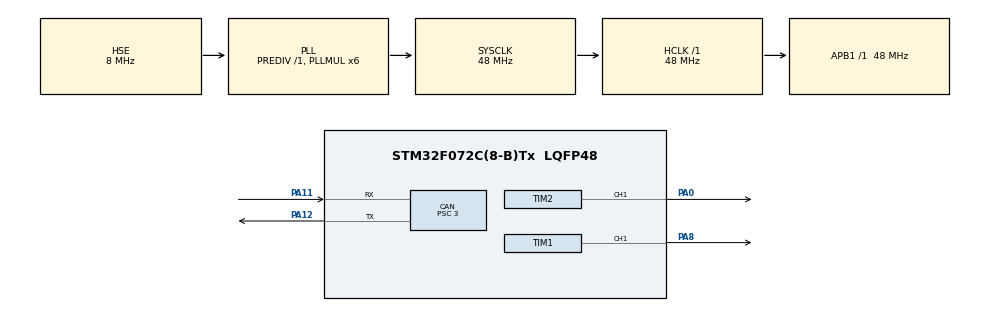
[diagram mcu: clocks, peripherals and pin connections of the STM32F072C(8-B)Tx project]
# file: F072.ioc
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CAN.CalculateBaudRate=1000000
CAN.CalculateTimeBit=1000
CAN.CalculateTimeQuantum=62.5
CAN.Prescaler=3
CAN.SyncJumpWidth=CAN_SJW_4TQ
CAN.TimeSeg1=CAN_BS1_11TQ
CAN.TimeSeg2=CAN_BS2_4TQ
CAN.AutoBusOff=ENABLE
CAN.AutoRetransmission=ENABLE
Mcu.Family=STM32F0
Mcu.Name=STM32F072C(8-B)Tx
Mcu.Package=LQFP48
PA0.Signal=S_TIM2_CH1_ETR
PA11.Mode=CAN_Activate
PA11.Signal=CAN_RX
PA12.Mode=CAN_Activate
PA12.Signal=CAN_TX
PA13.Mode=Serial_Wire
PA13.Signal=SYS_SWDIO
PA14.Mode=Serial_Wire
PA14.Signal=SYS_SWCLK
PA8.GPIO_Speed=GPIO_SPEED_FREQ_HIGH
PA8.Signal=S_TIM1_CH1
PF0-OSC_IN.Mode=HSE-External-Oscillator
PF0-OSC_IN.Signal=RCC_OSC_IN
PF1-OSC_OUT.Mode=HSE-External-Oscillator
PF1-OSC_OUT.Signal=RCC_OSC_OUT
ProjectManager.HeapSize=0x200
ProjectManager.StackSize=0x400
ProjectManager.TargetToolchain=MDK-ARM V5.32
RCC.AHBFreq_Value=48000000
RCC.APB1Freq_Value=48000000
RCC.APB1TimFreq_Value=48000000
RCC.HCLKFreq_Value=48000000
RCC.PLLMUL=RCC_PLL_MUL6
RCC.PLLSourceVirtual=RCC_PLLSOURCE_HSE
RCC.SYSCLKFreq_VALUE=48000000
RCC.SYSCLKSource=RCC_SYSCLKSOURCE_PLLCLK
SH.S_TIM1_CH1.0=TIM1_CH1,PWM Generation1 CH1
SH.S_TIM2_CH1_ETR.0=TIM2_CH1,PWM Generation1 CH1
TIM1.Channel-PWM\ Generation1\ CH1=TIM_CHANNEL_1
TIM1.Period=59
TIM1.Prescaler=0
TIM1.Pulse-PWM\ Generation1\ CH1=0
TIM2.Channel-PWM\ Generation1\ CH1=TIM_CHANNEL_1
board=custom

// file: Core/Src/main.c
/* USER CODE BEGIN Header */
/**
  ******************************************************************************
  * @file           : main.c
  * @brief          : Main program body
  ******************************************************************************
  * @attention
  *
  * Copyright (c) 2026 STMicroelectronics.
  * All rights reserved.
  *
  * This software is licensed under terms that can be found in the LICENSE file
  * in the root directory of this software component.
  * If no LICENSE file comes with this software, it is provided AS-IS.
  *
  ******************************************************************************
  */
/* USER CODE END Header */
#include "main.h"
#include "can.h"
#include "tim.h"
#include "gpio.h"

/* USER CODE BEGIN Includes */
#include "ws2812_image_red.h"
#include "ws2812_image_blue.h"
#include "ws2812_pwm.h"

/* USER CODE END Includes */

/* USER CODE BEGIN PV */
#if defined(LED_LOW_LOAD_TEST)
volatile uint32_t g_led_low_load_mode;
volatile uint32_t g_led_test_lit_count = 0U;
#endif

/* USER CODE END PV */

void SystemClock_Config(void);

int main(void)
{

  /* MCU Configuration--------------------------------------------------------*/

  /* Reset of all peripherals, Initializes the Flash interface and the Systick. */
  HAL_Init();

  /* Configure the system clock */
  SystemClock_Config();

  /* Initialize all configured peripherals */
  MX_GPIO_Init();
  MX_CAN_Init();
  MX_TIM1_Init();
  MX_TIM2_Init();
  /* USER CODE BEGIN 2 */
  WS2812_Init();
#if defined(LED_LOW_LOAD_TEST)
  /* Clear retained panel colours before any one/three-pixel load test. */
  g_led_low_load_mode = 1U;
  if (WS2812_Clear(WS2812_LED_COUNT) != HAL_OK)
  {
    Error_Handler();
  }
#endif

  /* USER CODE END 2 */

  /* Infinite loop */
  while (1)
  {

    /* USER CODE BEGIN 3 */

#if 0
    /* ============ DEBUG: CAN 回环自测（每500ms发一帧，红灯=通过 蓝灯=失败） ============ */
    {
      static uint32_t lb_tick    = 0U;   /* 上次发送时刻 */
      static uint8_t  lb_pending = 0U;   /* 1=已发一帧，等下一个周期看结果 */

      if ((HAL_GetTick() - lb_tick) >= 500U)
      {
        lb_tick = HAL_GetTick();

        if (lb_pending != 0U)
        {
          /* 上一帧的回环结果已经出来 */
          while (WS2812_IsBusy() != 0U)
          {
          }

          if (g_lb_received != 0U)
          {
            (void)WS2812_Show(ws2812_image_red, WS2812_LED_COUNT);   /* 收到回环 -> 红灯 */
          }
          else
          {
            (void)WS2812_Show(ws2812_image_blue, WS2812_LED_COUNT);  /* 没收到   -> 蓝灯 */
          }
        }

        (void)CAN_Loopback_Test();   /* 发一帧测试帧 */
        lb_pending = 1U;
      }
    }
    /* ============ DEBUG END ============ */
#endif

//    /* ============ 1s 自动测试：红/蓝交替亮灯（不需要时注释掉整块即可） ============ */
//    {
//      static uint32_t test_tick = 0U;   /* 上次切换的时刻 */
//      static uint8_t  test_red  = 1U;   /* 1=下次亮红, 0=下次亮蓝 */

//      if ((HAL_GetTick() - test_tick) >= 1000U)
//      {
//        test_tick = HAL_GetTick();

//        while (WS2812_IsBusy() != 0U)   /* 等上一次 DMA 传完 */
//        {
//        }

//        if (test_red != 0U)
//        {
//          (void)WS2812_Show(ws2812_image_red, WS2812_LED_COUNT);
//        }
//        else
//        {
//          (void)WS2812_Show(ws2812_image_blue, WS2812_LED_COUNT);
//        }

//        test_red = (test_red != 0U) ? 0U : 1U;   /* 翻转颜色 */
//      }
//    }
//    /* ============ TEST END ============ */

    /* ============ TEST: alternate red/blue blink every 1s — DELETE AFTER TEST ============ */

    CAN_Process();

    /* Keep servicing CAN while the previous LED DMA transfer completes. */
    {
      static uint8_t last_cmd = 0U;
      const uint8_t cmd = g_led_cmd;
      if ((cmd != last_cmd) && (WS2812_IsBusy() == 0U))
      {
#if defined(LED_LOW_LOAD_TEST)
        uint16_t lit_count = 0U;
        ws2812_rgb_t colour = {0U, 0U, 0U};
        if (cmd == F072_CMD_RED) { lit_count = 1U; colour.r = 16U; }
        else if (cmd == F072_CMD_BLUE) { lit_count = 3U; colour.b = 16U; }
        if (WS2812_ShowPrefix(lit_count, colour) == HAL_OK)
        {
          g_led_test_lit_count = lit_count;
          last_cmd = cmd;
          g_led_show_count++;
        }
#else
        const ws2812_rgb_t *image = NULL;
        if (cmd == F072_CMD_RED) { image = ws2812_image_red; }
        else if (cmd == F072_CMD_BLUE) { image = ws2812_image_blue; }
        if ((image != NULL) &&
            (WS2812_Show(image, WS2812_LED_COUNT) == HAL_OK))
        {
          last_cmd = cmd;
          g_led_show_count++;
        }
#endif
      }
    }
  }
  /* USER CODE END 3 */
}

void SystemClock_Config(void)
{
  RCC_OscInitTypeDef RCC_OscInitStruct = {0};
  RCC_ClkInitTypeDef RCC_ClkInitStruct = {0};

  /** Initializes the RCC Oscillators according to the specified parameters
  * in the RCC_OscInitTypeDef structure.
  */
  RCC_OscInitStruct.OscillatorType = RCC_OSCILLATORTYPE_HSE;
  RCC_OscInitStruct.HSEState = RCC_HSE_ON;
  RCC_OscInitStruct.PLL.PLLState = RCC_PLL_ON;
  RCC_OscInitStruct.PLL.PLLSource = RCC_PLLSOURCE_HSE;
  RCC_OscInitStruct.PLL.PLLMUL = RCC_PLL_MUL6;
  RCC_OscInitStruct.PLL.PREDIV = RCC_PREDIV_DIV1;
  if (HAL_RCC_OscConfig(&RCC_OscInitStruct) != HAL_OK)
  {
    Error_Handler();
  }

  /** Initializes the CPU, AHB and APB buses clocks
  */
  RCC_ClkInitStruct.ClockType = RCC_CLOCKTYPE_HCLK|RCC_CLOCKTYPE_SYSCLK
                              |RCC_CLOCKTYPE_PCLK1;
  RCC_ClkInitStruct.SYSCLKSource = RCC_SYSCLKSOURCE_PLLCLK;
  RCC_ClkInitStruct.AHBCLKDivider = RCC_SYSCLK_DIV1;
  RCC_ClkInitStruct.APB1CLKDivider = RCC_HCLK_DIV1;

  if (HAL_RCC_ClockConfig(&RCC_ClkInitStruct, FLASH_LATENCY_1) != HAL_OK)
  {
    Error_Handler();
  }
}

void Error_Handler(void)
{
  __disable_irq();
  while (1)
  {
  }
}
